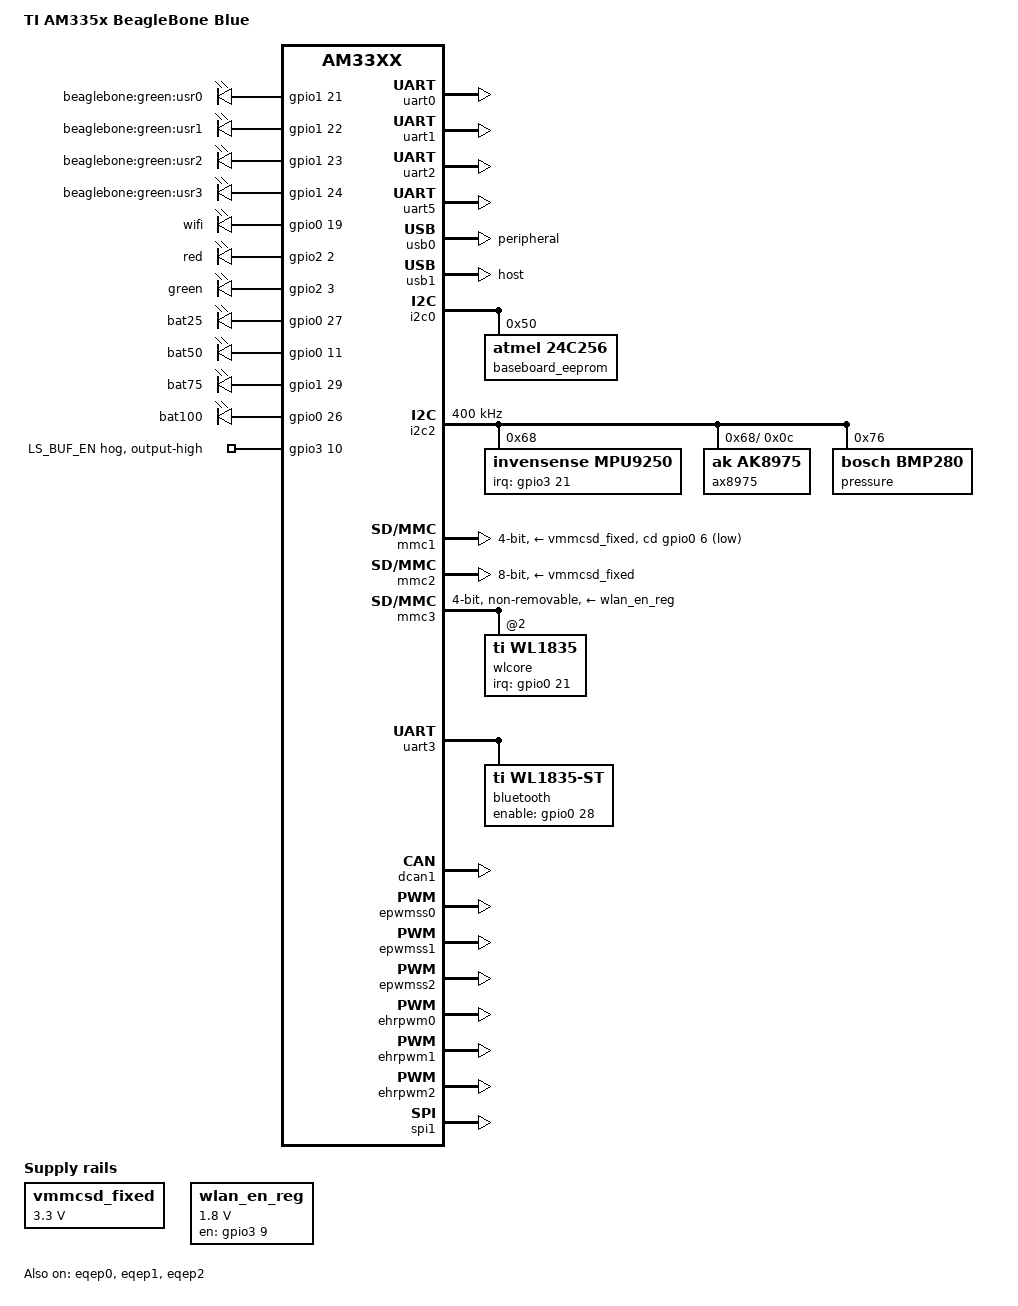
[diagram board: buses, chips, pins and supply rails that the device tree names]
// SPDX-License-Identifier: GPL-2.0-only
/*
 * Copyright (C) 2012 Texas Instruments Incorporated - http://www.ti.com/
 */
/dts-v1/;

#include "am33xx.dtsi"
#include "am335x-osd335x-common.dtsi"
#include <dt-bindings/interrupt-controller/irq.h>

/ {
	model = "TI AM335x BeagleBone Blue";
	compatible = "ti,am335x-bone-blue", "ti,am33xx";

	chosen {
		stdout-path = &uart0;
		base_dtb = "am335x-boneblue.dts";
		base_dtb_timestamp = __TIMESTAMP__;
	};

	leds {
		pinctrl-names = "default";
		pinctrl-0 = <&user_leds_s0>;

		compatible = "gpio-leds";

		usr_0_led {
			label = "beaglebone:green:usr0";
			gpios = <&gpio1 21 GPIO_ACTIVE_HIGH>;
			linux,default-trigger = "heartbeat";
			default-state = "off";
		};

		usr_1_led {
			label = "beaglebone:green:usr1";
			gpios = <&gpio1 22 GPIO_ACTIVE_HIGH>;
			linux,default-trigger = "mmc0";
			default-state = "off";
		};

		usr_2_led {
			label = "beaglebone:green:usr2";
			gpios = <&gpio1 23 GPIO_ACTIVE_HIGH>;
			linux,default-trigger = "cpu0";
			default-state = "off";
		};

		usr_3_led {
			label = "beaglebone:green:usr3";
			gpios = <&gpio1 24 GPIO_ACTIVE_HIGH>;
			linux,default-trigger = "mmc1";
			default-state = "off";
		};

		wifi_led {
			label = "wifi";
			gpios = <&gpio0 19 GPIO_ACTIVE_HIGH>;
			default-state = "off";
			linux,default-trigger = "phy0assoc";
		};

		red_led {
			label = "red";
			gpios = <&gpio2 2 GPIO_ACTIVE_HIGH>;
			default-state = "off";
		};

		green_led {
			label = "green";
			gpios = <&gpio2 3 GPIO_ACTIVE_HIGH>;
			default-state = "off";
		};

		batt_1_led {
			label = "bat25";
			gpios = <&gpio0 27 GPIO_ACTIVE_HIGH>;
			default-state = "off";
		};

		batt_2_led {
			label = "bat50";
			gpios = <&gpio0 11 GPIO_ACTIVE_HIGH>;
			default-state = "off";
		};

		batt_3_led {
			label = "bat75";
			gpios = <&gpio1 29 GPIO_ACTIVE_HIGH>;
			default-state = "off";
		};

		batt_4_led {
			label = "bat100";
			gpios = <&gpio0 26 GPIO_ACTIVE_HIGH>;
			default-state = "off";
		};
	};

	vmmcsd_fixed: fixedregulator0 {
		compatible = "regulator-fixed";
		regulator-name = "vmmcsd_fixed";
		regulator-min-microvolt = <3300000>;
		regulator-max-microvolt = <3300000>;
	};

	wlan_en_reg: fixedregulator@2 {
		compatible = "regulator-fixed";
		regulator-name = "wlan-en-regulator";
		regulator-min-microvolt = <1800000>;
		regulator-max-microvolt = <1800000>;
		startup-delay-us= <70000>;

		/* WL_EN */
		gpio = <&gpio3 9 0>;
		enable-active-high;
	};
};

&am33xx_pinmux {
	/***************************************************************************
	* Static Pinmux
	***************************************************************************/
	mux_helper_pins: pins {
		pinctrl-single,pins = <

			/* GPIO Inputs */
			0x09c 0x37	/*P8.9  Pause BUTTON, input pullup*/
			0x098 0x37	/*P8.10 MODE BUTTON input pullup*/
			0x1AC 0x37	/*P9.25 MPU-9150 INTERRUPT IN*/

			/* Motor Control GPIO Out*/
			0x088 ( PIN_OUTPUT | MUX_MODE7 ) /* (T13) gpmc_csn3.gpio2[0] - MDIR_1A different from cape! */
			0x074 ( PIN_OUTPUT | MUX_MODE7 ) /* (U17) gpmc_wpn.gpio0[31] - P9.13, MDIR_1B */
			0x040 ( PIN_OUTPUT | MUX_MODE7 ) /* (R13) gpmc_a0.gpio1[16] - P9.15, MDIR_2A */
			0x0D8 ( PIN_OUTPUT | MUX_MODE7 ) /* (V4) lcd_data14.gpio0[10] - P8.31, MDIR_2B different from cape! */
			0x0AC ( PIN_OUTPUT | MUX_MODE7 ) /* (R4) lcd_data3.gpio2[9] - P8.44, MDIR_3A */
			0x0A8 ( PIN_OUTPUT | MUX_MODE7 ) /* (R3) lcd_data2.gpio2[8] - P8.43, MDIR_3B */
			0x0A0 ( PIN_OUTPUT | MUX_MODE7 ) /* (R1) lcd_data0.gpio2[6] - P8.45, MDIR_4A */
			0x0A4 ( PIN_OUTPUT | MUX_MODE7 ) /* (R2) lcd_data1.gpio2[7] - P8.46, MDIR_4B */
			0x1B4 ( PIN_OUTPUT | MUX_MODE7 ) /* (D14) xdma_event_intr1.gpio0[20] - P9.41, MOT_STBY */

			/* PRU encoder input */
			0x038 0x36	/* P8_16,PRU0_r31_16,MODE6 */

			/* PRU Servo output */
			0x0e0 0x05	/*pru1_pru_r30_8, MODE5*/
			0x0e8 0x05	/*pru1_pru_r30_10, MODE5 */
			0x0e4 0x05	/*pr1_pru1_pru_r30_9, MODE5 */
			0x0ec 0x05	/*pru1_pru_r30_11, MODE5 */
			0x0b8 0x05	/*pru1_pru_r30_6, MODE5 */
			0x0bc 0x05	/*pru1_pru_r30_7, MODE5 */
			0x0b0 0x05	/*pru1_pru_r30_4, MODE5 */
			0x0b4 0x05	/*pru1_pru_r30_5, MODE5 */
			0x0C8 0x0F	/*P8.36, SERVO_PWR GPIO OUT*/

			/* WILINK 8 */
			0x08c 0x0F	/*P8.18 V12 A2DP FSYNC */
			0x078 0x0F	/*P9.12 A2DP_CLOCK*/
		>;

		/* D13 BLUE_GP0_PIN_5 gpio 3_20  */
		D13_default_pin: pinmux_D13_default_pin {
			pinctrl-single,pins = < 0x1A8 ( PIN_INPUT_PULLUP | MUX_MODE7 ) >; };
		D13_gpio_pin: pinmux_D13_gpio_pin {
			pinctrl-single,pins = < 0x1A8 ( PIN_OUTPUT | MUX_MODE7 ) >; };
		D13_gpio_pu_pin: pinmux_D13_gpio_pu_pin {
			pinctrl-single,pins = < 0x1A8 ( PIN_INPUT_PULLUP | MUX_MODE7 ) >; };
		D13_gpio_pd_pin: pinmux_D13_gpio_pd_pin {
			pinctrl-single,pins = < 0x1A8 ( PIN_INPUT_PULLDOWN | MUX_MODE7 ) >; };

		/* H17 BLUE_GP1_PIN_4 gpio 3_1  */
		H17_default_pin: pinmux_H17_default_pin {
			pinctrl-single,pins = < 0x10C ( PIN_INPUT_PULLUP | MUX_MODE7 ) >; };
		H17_gpio_pin: pinmux_H17_gpio_pin {
			pinctrl-single,pins = < 0x10C ( PIN_OUTPUT | MUX_MODE7 ) >; };
		H17_gpio_pu_pin: pinmux_H17_gpio_pu_pin {
			pinctrl-single,pins = < 0x10C ( PIN_INPUT_PULLUP | MUX_MODE7 ) >; };
		H17_gpio_pd_pin: pinmux_H17_gpio_pd_pin {
			pinctrl-single,pins = < 0x10C ( PIN_INPUT_PULLDOWN | MUX_MODE7 ) >; };

		/* J15 BLUE_GP1_PIN_3 gpio 3_2  */
		J15_default_pin: pinmux_J15_default_pin {
			pinctrl-single,pins = < 0x110 ( PIN_INPUT_PULLUP | MUX_MODE7 ) >; };
		J15_gpio_pin: pinmux_J15_gpio_pin {
			pinctrl-single,pins = < 0x110 ( PIN_OUTPUT | MUX_MODE7 ) >; };
		J15_gpio_pu_pin: pinmux_J15_gpio_pu_pin {
			pinctrl-single,pins = < 0x110 ( PIN_INPUT_PULLUP | MUX_MODE7 ) >; };
		J15_gpio_pd_pin: pinmux_J15_gpio_pd_pin {
			pinctrl-single,pins = < 0x110 ( PIN_INPUT_PULLDOWN | MUX_MODE7 ) >; };

		/* P8_15 (ZCZ ball U13) */
		P8_15_default_pin: pinmux_P8_15_default_pin {
			pinctrl-single,pins = <0x03c  0x27>; };     /* Mode 7, Pull-Down, RxActive */
		P8_15_gpio_pin: pinmux_P8_15_gpio_pin {
			pinctrl-single,pins = <0x03c  0x2F>; };     /* Mode 7, RxActive */
		P8_15_gpio_pu_pin: pinmux_P8_15_gpio_pu_pin {
			pinctrl-single,pins = <0x03c  0x37>; };     /* Mode 7, Pull-Up, RxActive */
		P8_15_gpio_pd_pin: pinmux_P8_15_gpio_pd_pin {
			pinctrl-single,pins = <0x03c  0x27>; };     /* Mode 7, Pull-Down, RxActive */
		P8_15_pruin_pin: pinmux_P8_15_pruin_pin {
			pinctrl-single,pins = <0x03c  0x26>; };     /* Mode 6, Pull-Down, RxActive */
		P8_15_qep_pin: pinmux_P8_15_qep_pin {
			pinctrl-single,pins = <0x03c  0x24>; };     /* Mode 4, Pull-Down, RxActive */
		P8_15_pruin_pu_pin: pinmux_P8_15_pruin_pu_pin {
			pinctrl-single,pins = <0x03c  0x36>; };     /* Mode 6, Pull-Up, RxActive */
		P8_15_pruecapin_pu_pin: pinmux_P8_15_pruecapin_pu_pin {
			pinctrl-single,pins = <0x03c  0x35>; };     /* Mode 5, Pull-Up, RxActive */

		/* P9_11 (ZCZ ball T17) */
		P9_11_default_pin: pinmux_P9_11_default_pin {
			pinctrl-single,pins = <0x070  0x37>; };     /* Mode 7, Pull-Up, RxActive */
		P9_11_gpio_pin: pinmux_P9_11_gpio_pin {
			pinctrl-single,pins = <0x070  0x2F>; };     /* Mode 7, RxActive */
		P9_11_gpio_pu_pin: pinmux_P9_11_gpio_pu_pin {
			pinctrl-single,pins = <0x070  0x37>; };     /* Mode 7, Pull-Up, RxActive */
		P9_11_gpio_pd_pin: pinmux_P9_11_gpio_pd_pin {
			pinctrl-single,pins = <0x070  0x27>; };     /* Mode 7, Pull-Down, RxActive */
		P9_11_uart_pin: pinmux_P9_11_uart_pin {
			pinctrl-single,pins = <0x070  0x36>; };     /* Mode 6, Pull-Up, RxActive */

		/* P9_23 (ZCZ ball V14) */
		P9_23_default_pin: pinmux_P9_23_default_pin {
			pinctrl-single,pins = <0x044  0x27>; };     /* Mode 7, Pull-Down, RxActive */
		P9_23_gpio_pin: pinmux_P9_23_gpio_pin {
			pinctrl-single,pins = <0x044  0x2F>; };     /* Mode 7, RxActive */
		P9_23_gpio_pu_pin: pinmux_P9_23_gpio_pu_pin {
			pinctrl-single,pins = <0x044  0x37>; };     /* Mode 7, Pull-Up, RxActive */
		P9_23_gpio_pd_pin: pinmux_P9_23_gpio_pd_pin {
			pinctrl-single,pins = <0x044  0x27>; };     /* Mode 7, Pull-Down, RxActive */
		P9_23_pwm_pin: pinmux_P9_23_pwm_pin {
			pinctrl-single,pins = <0x044  0x26>; };     /* Mode 6, Pull-Down, RxActive */

		/* P9_28 (ZCZ ball C12) Audio   */
		P9_28_default_pin: pinmux_P9_28_default_pin {
			pinctrl-single,pins = <0x19c  0x27>; };     /* Mode 7, Pull-Down, RxActive */
		P9_28_gpio_pin: pinmux_P9_28_gpio_pin {
			pinctrl-single,pins = <0x19c  0x2F>; };     /* Mode 7, RxActive */
		P9_28_gpio_pu_pin: pinmux_P9_28_gpio_pu_pin {
			pinctrl-single,pins = <0x19c  0x37>; };     /* Mode 7, Pull-Up, RxActive */
		P9_28_gpio_pd_pin: pinmux_P9_28_gpio_pd_pin {
			pinctrl-single,pins = <0x19c  0x27>; };     /* Mode 7, Pull-Down, RxActive */
		P9_28_pwm_pin: pinmux_P9_28_pwm_pin {
			pinctrl-single,pins = <0x19c  0x21>; };     /* Mode 1, Pull-Down, RxActive */
		P9_28_spi_pin: pinmux_P9_28_spi_pin {
			pinctrl-single,pins = <0x19c  0x23>; };     /* Mode 3, Pull-Down, RxActive */
		P9_28_pwm2_pin: pinmux_P9_28_pwm2_pin {
			pinctrl-single,pins = <0x19c  0x24>; };     /* Mode 4, Pull-Down, RxActive */
		P9_28_pruout_pin: pinmux_P9_28_pruout_pin {
			pinctrl-single,pins = <0x19c  0x25>; };     /* Mode 5, Pull-Down, RxActive */
		P9_28_pruin_pin: pinmux_P9_28_pruin_pin {
			pinctrl-single,pins = <0x19c  0x26>; };     /* Mode 6, Pull-Down, RxActive */
		P9_28_audio_pin: pinmux_P9_28_audio_pin {
			pinctrl-single,pins = <0x19c  (PIN_OUTPUT_PULLDOWN | MUX_MODE2)>; };	/* mcasp0_ahclkr.mcasp0_axr2 */

		/* U16 BLUE_GP0_PIN_3 gpio 1_25   */
		U16_default_pin: pinmux_U16_default_pin {
			pinctrl-single,pins = < 0x064 ( PIN_INPUT_PULLUP | MUX_MODE7 ) >; };
		U16_gpio_pin: pinmux_U16_gpio_pin {
			pinctrl-single,pins = < 0x064 ( PIN_OUTPUT | MUX_MODE7 ) >; };
		U16_gpio_pu_pin: pinmux_U16_gpio_pu_pin {
			pinctrl-single,pins = < 0x064 ( PIN_INPUT_PULLUP | MUX_MODE7 ) >; };
		U16_gpio_pd_pin: pinmux_U16_gpio_pd_pin {
			pinctrl-single,pins = < 0x064 ( PIN_INPUT_PULLDOWN | MUX_MODE7 ) >; };

	};

	user_leds_s0: user_leds_s0 {
		pinctrl-single,pins = <
			AM33XX_PADCONF(AM335X_PIN_GPMC_A5, PIN_OUTPUT, MUX_MODE7) /* (V15) gpmc_a5.gpio1[21] - USR_LED_0 */
			AM33XX_PADCONF(AM335X_PIN_GPMC_A6, PIN_OUTPUT, MUX_MODE7) /* (U15) gpmc_a6.gpio1[22] - USR_LED_1 */
			AM33XX_PADCONF(AM335X_PIN_GPMC_A7, PIN_OUTPUT, MUX_MODE7) /* (T15) gpmc_a7.gpio1[23] - USR_LED_2 */
			AM33XX_PADCONF(AM335X_PIN_GPMC_A8, PIN_OUTPUT, MUX_MODE7) /* (V16) gpmc_a8.gpio1[24] - USR_LED_3 */
			AM33XX_PADCONF(AM335X_PIN_XDMA_EVENT_INTR0, PIN_OUTPUT, MUX_MODE7) /* (A15) xdma_event_intr0.gpio0[19] - WIFI_LED */
			AM33XX_PADCONF(AM335X_PIN_GPMC_ADVN_ALE, PIN_OUTPUT, MUX_MODE7) /* (R7) gpmc_advn_ale.gpio2[2] - P8.7, LED_RED, GP1_PIN_5 */
			AM33XX_PADCONF(AM335X_PIN_GPMC_OEN_REN, PIN_OUTPUT, MUX_MODE7) /* (T7) gpmc_oen_ren.gpio2[3] - P8.8, LED_GREEN, GP1_PIN_6 */
			AM33XX_PADCONF(AM335X_PIN_GPMC_AD11, PIN_OUTPUT, MUX_MODE7) /* (U12) gpmc_ad11.gpio0[27] - P8.17, BATT_LED_1 */
			AM33XX_PADCONF(AM335X_PIN_LCD_DATA15, PIN_OUTPUT, MUX_MODE7) /* (T5) lcd_data15.gpio0[11] - P8.32, BATT_LED_2 */
			AM33XX_PADCONF(AM335X_PIN_GPMC_CSN0, PIN_OUTPUT, MUX_MODE7) /* (V6) gpmc_csn0.gpio1[29] - P8.26, BATT_LED_3 */
			AM33XX_PADCONF(AM335X_PIN_GPMC_AD10, PIN_OUTPUT, MUX_MODE7) /* (T11) gpmc_ad10.gpio0[26] - P8.14, BATT_LED_4 */

		>;
	};

	i2c2_pins: pinmux_i2c2_pins {
		pinctrl-single,pins = <
			AM33XX_PADCONF(AM335X_PIN_UART1_CTSN, PIN_INPUT_PULLUP, MUX_MODE3)	/* (D18) uart1_ctsn.I2C2_SDA */
			AM33XX_PADCONF(AM335X_PIN_UART1_RTSN, PIN_INPUT_PULLUP, MUX_MODE3)	/* (D17) uart1_rtsn.I2C2_SCL */
		>;
	};

	/* UT0 */
	uart0_pins: pinmux_uart0_pins {
		pinctrl-single,pins = <
			AM33XX_PADCONF(AM335X_PIN_UART0_RXD, PIN_INPUT_PULLUP, MUX_MODE0)
			AM33XX_PADCONF(AM335X_PIN_UART0_TXD, PIN_OUTPUT_PULLDOWN, MUX_MODE0)
		>;
	};

	/* UT1 */
	uart1_pins: pinmux_uart1_pins {
		pinctrl-single,pins = <
			AM33XX_PADCONF(AM335X_PIN_UART1_RXD, PIN_INPUT_PULLUP, MUX_MODE0)
			AM33XX_PADCONF(AM335X_PIN_UART1_TXD, PIN_OUTPUT_PULLDOWN, MUX_MODE0)
		>;
	};

	/* GPS */
	uart2_pins: pinmux_uart2_pins {
		pinctrl-single,pins = <
			AM33XX_PADCONF(AM335X_PIN_SPI0_SCLK, PIN_INPUT_PULLUP, MUX_MODE1)	/* (A17) spi0_sclk.uart2_rxd */
			AM33XX_PADCONF(AM335X_PIN_SPI0_D0, PIN_OUTPUT_PULLDOWN, MUX_MODE1)	/* (B17) spi0_d0.uart2_txd */
		>;
	};

	/* DSM2 */
	//uart4_pins: pinmux_uart4_pins {
	//	pinctrl-single,pins = <
	//		AM33XX_PADCONF(AM335X_PIN_GPMC_WAIT0, PIN_INPUT_PULLUP, MUX_MODE6)	/* (T17) gpmc_wait0.uart4_rxd */
	//	>;
	//};

	/* UT5 */
	uart5_pins: pinmux_uart5_pins {
		pinctrl-single,pins = <
			AM33XX_PADCONF(AM335X_PIN_LCD_DATA9, PIN_INPUT_PULLUP, MUX_MODE4)	/* (U2) lcd_data9.uart5_rxd */
			AM33XX_PADCONF(AM335X_PIN_LCD_DATA8, PIN_OUTPUT_PULLDOWN, MUX_MODE4)	/* (U1) lcd_data8.uart5_txd */
		>;
	};

	mmc1_pins: pinmux_mmc1_pins {
		pinctrl-single,pins = <
			AM33XX_PADCONF(AM335X_PIN_SPI0_CS1, PIN_INPUT, MUX_MODE7)		/* (C15) spi0_cs1.gpio0[6] */
		>;
	};

	mmc2_pins: pinmux_mmc2_pins {
		pinctrl-single,pins = <
			AM33XX_PADCONF(AM335X_PIN_GPMC_CSN1, PIN_INPUT_PULLUP, MUX_MODE2)	/* (U9) gpmc_csn1.mmc1_clk */
			AM33XX_PADCONF(AM335X_PIN_GPMC_CSN2, PIN_INPUT_PULLUP, MUX_MODE2)	/* (V9) gpmc_csn2.mmc1_cmd */
			AM33XX_PADCONF(AM335X_PIN_GPMC_AD0, PIN_INPUT_PULLUP, MUX_MODE1)	/* (U7) gpmc_ad0.mmc1_dat0 */
			AM33XX_PADCONF(AM335X_PIN_GPMC_AD1, PIN_INPUT_PULLUP, MUX_MODE1)	/* (V7) gpmc_ad1.mmc1_dat1 */
			AM33XX_PADCONF(AM335X_PIN_GPMC_AD2, PIN_INPUT_PULLUP, MUX_MODE1)	/* (R8) gpmc_ad2.mmc1_dat2 */
			AM33XX_PADCONF(AM335X_PIN_GPMC_AD3, PIN_INPUT_PULLUP, MUX_MODE1)	/* (T8) gpmc_ad3.mmc1_dat3 */
			AM33XX_PADCONF(AM335X_PIN_GPMC_AD4, PIN_INPUT_PULLUP, MUX_MODE1)	/* (U8) gpmc_ad4.mmc1_dat4 */
			AM33XX_PADCONF(AM335X_PIN_GPMC_AD5, PIN_INPUT_PULLUP, MUX_MODE1)	/* (V8) gpmc_ad5.mmc1_dat5 */
			AM33XX_PADCONF(AM335X_PIN_GPMC_AD6, PIN_INPUT_PULLUP, MUX_MODE1)	/* (R9) gpmc_ad6.mmc1_dat6 */
			AM33XX_PADCONF(AM335X_PIN_GPMC_AD7, PIN_INPUT_PULLUP, MUX_MODE1)	/* (T9) gpmc_ad7.mmc1_dat7 */
		>;
	};

	mmc3_pins: pinmux_mmc3_pins {
		pinctrl-single,pins = <
			AM33XX_PADCONF(AM335X_PIN_MII1_RXD1, PIN_INPUT_PULLUP, MUX_MODE6)	/* (L15) gmii1_rxd1.mmc2_clk */
			AM33XX_PADCONF(AM335X_PIN_MII1_TX_EN, PIN_INPUT_PULLUP, MUX_MODE6)	/* (J16) gmii1_txen.mmc2_cmd */
			AM33XX_PADCONF(AM335X_PIN_MII1_RX_DV, PIN_INPUT_PULLUP, MUX_MODE5)	/* (J17) gmii1_rxdv.mmc2_dat0 */
			AM33XX_PADCONF(AM335X_PIN_MII1_TXD3, PIN_INPUT_PULLUP, MUX_MODE5)	/* (J18) gmii1_txd3.mmc2_dat1 */
			AM33XX_PADCONF(AM335X_PIN_MII1_TXD2, PIN_INPUT_PULLUP, MUX_MODE5)	/* (K15) gmii1_txd2.mmc2_dat2 */
			AM33XX_PADCONF(AM335X_PIN_MII1_COL, PIN_INPUT_PULLUP, MUX_MODE5)	/* (H16) gmii1_col.mmc2_dat3 */
		>;
	};

	bt_pins: pinmux_bt_pins {
		pinctrl-single,pins = <
			AM33XX_PADCONF(AM335X_PIN_MII1_TXD0, PIN_OUTPUT_PULLUP, MUX_MODE7)	/* (K17) gmii1_txd0.gpio0[28] - BT_EN */
		>;
	};

	uart3_pins: pinmux_uart3_pins {
		pinctrl-single,pins = <
			AM33XX_PADCONF(AM335X_PIN_MII1_RXD3, PIN_INPUT_PULLUP, MUX_MODE1)	/* (L17) gmii1_rxd3.uart3_rxd */
			AM33XX_PADCONF(AM335X_PIN_MII1_RXD2, PIN_OUTPUT_PULLDOWN, MUX_MODE1)	/* (L16) gmii1_rxd2.uart3_txd */
			AM33XX_PADCONF(AM335X_PIN_MDIO, PIN_INPUT, MUX_MODE3)		/* (M17) mdio_data.uart3_ctsn */
			AM33XX_PADCONF(AM335X_PIN_MDC, PIN_OUTPUT_PULLDOWN, MUX_MODE3)	/* (M18) mdio_clk.uart3_rtsn */
		>;
	};

	wl18xx_pins: pinmux_wl18xx_pins {
		pinctrl-single,pins = <
			AM33XX_PADCONF(AM335X_PIN_MII1_TX_CLK, PIN_OUTPUT_PULLDOWN, MUX_MODE7)	/* (K18) gmii1_txclk.gpio3[9] - WL_EN */
			AM33XX_PADCONF(AM335X_PIN_MII1_TXD1, PIN_INPUT_PULLDOWN, MUX_MODE7)	/* (K16) gmii1_txd1.gpio0[21] - WL_IRQ */
			AM33XX_PADCONF(AM335X_PIN_MII1_RX_CLK, PIN_OUTPUT_PULLUP, MUX_MODE7)	/* (L18) gmii1_rxclk.gpio3[10] - LS_BUF_EN */
		>;
	};

	/* DCAN */
	dcan1_pins: pinmux_dcan1_pins {
		pinctrl-single,pins = <
			AM33XX_PADCONF(AM335X_PIN_UART0_RTSN, PIN_INPUT, MUX_MODE2)		/* (E17) uart0_rtsn.dcan1_rx */
			AM33XX_PADCONF(AM335X_PIN_UART0_CTSN, PIN_OUTPUT, MUX_MODE2)		/* (E18) uart0_ctsn.dcan1_tx */
			AM33XX_PADCONF(AM335X_PIN_MII1_RXD0, PIN_OUTPUT, MUX_MODE7)		/* (M16) gmii1_rxd0.gpio2[21] */
		>;
	};

	/* E1 */
	eqep0_pins: pinmux_eqep0_pins {
		pinctrl-single,pins = <
			AM33XX_PADCONF(AM335X_PIN_MCASP0_AXR0, PIN_INPUT, MUX_MODE1)		/* (B12) mcasp0_aclkr.eQEP0A_in */
			AM33XX_PADCONF(AM335X_PIN_MCASP0_FSR, PIN_INPUT, MUX_MODE1)		/* (C13) mcasp0_fsr.eQEP0B_in */
		>;
	};

	/* E2 */
	eqep1_pins: pinmux_eqep1_pins {
		pinctrl-single,pins = <
			AM33XX_PADCONF(AM335X_PIN_LCD_DATA12, PIN_INPUT, MUX_MODE2)		/* (V2) lcd_data12.eQEP1A_in */
			AM33XX_PADCONF(AM335X_PIN_LCD_DATA13, PIN_INPUT, MUX_MODE2)		/* (V3) lcd_data13.eQEP1B_in */
		>;
	};

	/* E3 */
	eqep2_pins: pinmux_eqep2_pins {
		pinctrl-single,pins = <
			AM33XX_PADCONF(AM335X_PIN_GPMC_AD12, PIN_INPUT, MUX_MODE4)		/* (T12) gpmc_ad12.eQEP2A_in */
			AM33XX_PADCONF(AM335X_PIN_GPMC_AD13, PIN_INPUT, MUX_MODE4)		/* (R12) gpmc_ad13.eQEP2B_in */
		>;
	};

	ehrpwm1_pins: pinmux_ehrpwm1_pins {
		pinctrl-single,pins = <
			0x020  0x24 /* P8_19_pwm_pin */
			0x024  0x24 /* P8_13_pwm_pin */
		>;
	};

	ehrpwm2_pins: pinmux_ehrpwm2_pins {
		pinctrl-single,pins = <
			0x048  0x26 /* P9_14_pwm_pin */
			0x04c  0x26 /* P9_16_pwm_pin */
		>;
	};

	spi1_pins: pinmux_spi1_pins {
		pinctrl-single,pins = <
			0x190  0x23 /* spi1_sclk */
			0x194  0x23 /* spi1_d0 */
			0x198  0x23 /* spi1_d1 */
			0x144 ( PIN_OUTPUT | MUX_MODE2 ) /* spi1_cs0 */
			0x164 ( PIN_OUTPUT | MUX_MODE2 ) /* spi1_cs1 */
		>;
	};
};

&uart0 {
	pinctrl-names = "default";
	pinctrl-0 = <&uart0_pins>;

	status = "okay";
};

&uart1 {
	pinctrl-names = "default";
	pinctrl-0 = <&uart1_pins>;

	status = "okay";
};

&uart2 {
	pinctrl-names = "default";
	pinctrl-0 = <&uart2_pins>;

	status = "okay";
};

//&uart4 {
//	pinctrl-names = "default";
//	pinctrl-0 = <&uart4_pins>;
//
//	status = "okay";
//};

&uart5 {
	pinctrl-names = "default";
	pinctrl-0 = <&uart5_pins>;

	status = "okay";
};

&usb0 {
	dr_mode = "peripheral";
	interrupts-extended = <&intc 18 &tps 0>;
	interrupt-names = "mc", "vbus";
};

&usb1 {
	dr_mode = "host";
};

&i2c0 {
	baseboard_eeprom: baseboard_eeprom@50 {
		compatible = "atmel,24c256";
		reg = <0x50>;

		#address-cells = <1>;
		#size-cells = <1>;
		baseboard_data: baseboard_data@0 {
			reg = <0 0x100>;
		};
	};
};

&i2c2 {
	pinctrl-names = "default";
	pinctrl-0 = <&i2c2_pins>;

	status = "okay";
	clock-frequency = <400000>;

	mpu9250@68 {
		compatible = "invensense,mpu9250";
		reg = <0x68>;
		interrupt-parent = <&gpio3>;
		interrupts = <21 IRQ_TYPE_EDGE_RISING>;
		i2c-gate {
			#address-cells = <1>;
			#size-cells = <0>;
			ax8975@c {
				compatible = "ak,ak8975";
				reg = <0x0c>;
			};
		};
	};

	pressure@76 {
		compatible = "bosch,bmp280";
		reg = <0x76>;
	};
};

/include/ "tps65217.dtsi"

&tps {
	/delete-property/ ti,pmic-shutdown-controller;

	charger {
		interrupts = <0>, <1>;
		interrupt-names = "USB", "AC";
		status = "okay";
	};
};

&mmc1 {
	status = "okay";
	vmmc-supply = <&vmmcsd_fixed>;
	bus-width = <4>;
	pinctrl-names = "default";
	pinctrl-0 = <&mmc1_pins>;
	cd-gpios = <&gpio0 6 GPIO_ACTIVE_LOW>;
};

&mmc2 {
	status = "okay";
	vmmc-supply = <&vmmcsd_fixed>;
	bus-width = <8>;
	pinctrl-names = "default";
	pinctrl-0 = <&mmc2_pins>;
};

&mmc3 {
	dmas = <&edma_xbar 12 0 1
		&edma_xbar 13 0 2>;
	dma-names = "tx", "rx";
	status = "okay";
	vmmc-supply = <&wlan_en_reg>;
	bus-width = <4>;
	non-removable;
	cap-power-off-card;
	keep-power-in-suspend;
	pinctrl-names = "default";
	pinctrl-0 = <&mmc3_pins &wl18xx_pins>;

	#address-cells = <1>;
	#size-cells = <0>;
	wlcore: wlcore@2 {
		compatible = "ti,wl1835";
		reg = <2>;
		interrupt-parent = <&gpio0>;
		interrupts = <21 IRQ_TYPE_EDGE_RISING>;
	};
};

//&tscadc {
//	status = "okay";
//	adc {
//		ti,adc-channels = <0 1 2 3 4 5 6 7>;
//	};
//};

&uart3 {
	pinctrl-names = "default";
	pinctrl-0 = <&uart3_pins &bt_pins>;
	status = "okay";

	bluetooth {
		compatible = "ti,wl1835-st";
		enable-gpios = <&gpio0 28 GPIO_ACTIVE_HIGH>;
	};
};

&rtc {
	system-power-controller;
	clocks = <&clk_32768_ck>, <&clk_24mhz_clkctrl AM3_CLK_24MHZ_CLKDIV32K_CLKCTRL 0>;
	clock-names = "ext-clk", "int-clk";
};

&wkup_m3_ipc {
	ti,scale-data-fw = "am335x-bone-scale-data.bin";
};

&dcan1 {
	pinctrl-names = "default";
	pinctrl-0 = <&dcan1_pins>;
	status = "okay";
};

&gpio3 {
	ls_buf_en {
		gpio-hog;
		gpios = <10 GPIO_ACTIVE_HIGH>;
		output-high;
		line-name = "LS_BUF_EN";
	};
};

&epwmss0 {
	status = "okay";
};

&eqep0 {
	status = "okay";
	pinctrl-names = "default";
	pinctrl-0 = <&eqep0_pins>;
};

&epwmss1 {
	status = "okay";
};

&eqep1 {
	status = "okay";
	pinctrl-names = "default";
	pinctrl-0 = <&eqep1_pins>;
};

&epwmss2 {
	status = "okay";
};

&eqep2 {
	status = "okay";
	pinctrl-names = "default";
	pinctrl-0 = <&eqep2_pins>;
};

&ocp {
	/* activate the static pinmux helper list of pin modes above */
	test_helper: helper {
		compatible = "bone-pinmux-helper";
		pinctrl-names = "default";
		pinctrl-0 = <&mux_helper_pins>;

		status = "okay";
	};

	/* Encoder 4 (U13) */
	P8_15_pinmux {
		compatible = "bone-pinmux-helper";
		status = "okay";
		pinctrl-names = "default", "pruin_pu", "gpio", "gpio_pu", "gpio_pd", "pruin", "qep", "pruecapin_pu";
		pinctrl-0 = <&P8_15_pruin_pu_pin>;
		pinctrl-1 = <&P8_15_pruin_pu_pin>;
		pinctrl-2 = <&P8_15_gpio_pin>;
		pinctrl-3 = <&P8_15_gpio_pu_pin>;
		pinctrl-4 = <&P8_15_gpio_pd_pin>;
		pinctrl-5 = <&P8_15_pruin_pin>;
		pinctrl-6 = <&P8_15_qep_pin>;
		pinctrl-7 = <&P8_15_pruecapin_pu_pin>;
	};

	/* UART4 RX DSM */
	P9_11_pinmux {
		compatible = "bone-pinmux-helper";
		status = "okay";
		pinctrl-names = "default", "uart", "gpio", "gpio_pu", "gpio_pd";
		pinctrl-0 = <&P9_11_uart_pin>;
		pinctrl-1 = <&P9_11_uart_pin>;
		pinctrl-2 = <&P9_11_gpio_pin>;
		pinctrl-3 = <&P9_11_gpio_pu_pin>;
		pinctrl-4 = <&P9_11_gpio_pd_pin>;
	};

	/* U16 BLUE_GP0_PIN_3 gpio 1_25*/
	U16_pinmux {
		compatible = "bone-pinmux-helper";
		status = "okay";
		pinctrl-names = "default", "gpio", "gpio_pu", "gpio_pd";
		pinctrl-0 = <&U16_default_pin>;
		pinctrl-1 = <&U16_gpio_pin>;
		pinctrl-2 = <&U16_gpio_pu_pin>;
		pinctrl-3 = <&U16_gpio_pd_pin>;
	};


	/* BLUE_GP0_PIN_3 gpio1_17*/
	P9_23_pinmux {
		compatible = "bone-pinmux-helper";
		status = "okay";
		pinctrl-names = "default", "gpio", "gpio_pu", "gpio_pd", "pwm";
		pinctrl-0 = <&P9_23_default_pin>;
		pinctrl-1 = <&P9_23_gpio_pin>;
		pinctrl-2 = <&P9_23_gpio_pu_pin>;
		pinctrl-3 = <&P9_23_gpio_pd_pin>;
		pinctrl-4 = <&P9_23_pwm_pin>;
	};

	/* BLUE_GP0_PIN_5 gpio3_20 */
	D13_pinmux {
		compatible = "bone-pinmux-helper";
		status = "okay";
		pinctrl-names = "default", "gpio", "gpio_pu", "gpio_pd";
		pinctrl-0 = <&D13_default_pin>;
		pinctrl-1 = <&D13_gpio_pin>;
		pinctrl-2 = <&D13_gpio_pu_pin>;
		pinctrl-3 = <&D13_gpio_pd_pin>;
	};

	/* BLUE_GP0_PIN_6 gpio3_17 */
	P9_28_pinmux {
		compatible = "bone-pinmux-helper";
		status = "okay";
		pinctrl-names = "default", "gpio", "gpio_pu", "gpio_pd", "pwm", "spi", "pwm2", "pruout", "pruin";
		pinctrl-0 = <&P9_28_default_pin>;
		pinctrl-1 = <&P9_28_gpio_pin>;
		pinctrl-2 = <&P9_28_gpio_pu_pin>;
		pinctrl-3 = <&P9_28_gpio_pd_pin>;
		pinctrl-4 = <&P9_28_pwm_pin>;
		pinctrl-5 = <&P9_28_spi_pin>;
		pinctrl-6 = <&P9_28_pwm2_pin>;
		pinctrl-7 = <&P9_28_pruout_pin>;
		pinctrl-8 = <&P9_28_pruin_pin>;
	};

	/* BLUE_GP1_PIN_3 gpio3_2 */
	J15_pinmux {
		compatible = "bone-pinmux-helper";
		status = "okay";
		pinctrl-names = "default", "gpio", "gpio_pu", "gpio_pd";
		pinctrl-0 = <&J15_default_pin>;
		pinctrl-1 = <&J15_gpio_pin>;
		pinctrl-2 = <&J15_gpio_pu_pin>;
		pinctrl-3 = <&J15_gpio_pd_pin>;
	};

	/* BLUE_GP1_PIN_4 gpio3_1 */
	H17_pinmux {
		compatible = "bone-pinmux-helper";
		status = "okay";
		pinctrl-names = "default", "gpio", "gpio_pu", "gpio_pd";
		pinctrl-0 = <&H17_default_pin>;
		pinctrl-1 = <&H17_gpio_pin>;
		pinctrl-2 = <&H17_gpio_pu_pin>;
		pinctrl-3 = <&H17_gpio_pd_pin>;
	};
};

/*******************************************************************************
*	PWMSS
*******************************************************************************/
&ehrpwm0 {
	status = "okay";
};

&ehrpwm1 {
	pinctrl-names = "default";
	pinctrl-0 = <&ehrpwm1_pins>;
	status = "okay";
};

&ehrpwm2 {
	pinctrl-names = "default";
	pinctrl-0 = <&ehrpwm2_pins>;
	status = "okay";
};

/*******************************************************************************
	SPI
*******************************************************************************/
&spi1 {
	pinctrl-names = "default";
	pinctrl-0 = <&spi1_pins>;

	#address-cells = <1>;
	#size-cells = <0>;
	status = "okay";

	channel@0 {
		#address-cells = <1>;
		#size-cells = <0>;
		compatible = "spidev";
		symlink = "spi/1.0";
		reg = <0>;
		spi-max-frequency = <24000000>;
	};

	channel@1 {
		#address-cells = <1>;
		#size-cells = <0>;
		compatible = "spidev";
		symlink = "spi/1.1";
		reg = <1>;
		spi-max-frequency = <24000000>;
	};
};
